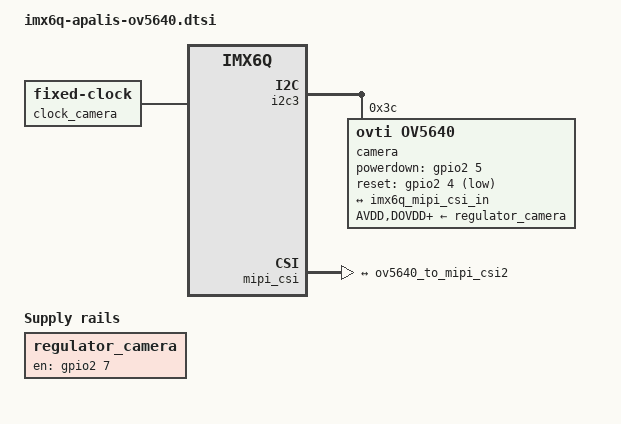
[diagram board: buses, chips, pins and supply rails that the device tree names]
// SPDX-License-Identifier: GPL-2.0-only OR MIT
/*
 * Copyright (c) Toradex
 *
 * Common device tree include for Toradex OV5640 CSI camera on Apalis iMX6 CSI.
 */

#include <dt-bindings/gpio/gpio.h>

&{/} {
	clock_camera: clock-camera {
		compatible = "fixed-clock";
		#clock-cells = <0>;
	};

	regulator_camera: regulator-camera {
		compatible = "regulator-fixed";
		/* Apalis GPIO4 - CSI Camera Connector pin 24 */
		gpio = <&gpio2 7 GPIO_ACTIVE_HIGH>;
		enable-active-high;
		regulator-name = "V_CSI";
		startup-delay-us = <5000>;
	};
};

&i2c3 {
	#address-cells = <1>;
	#size-cells = <0>;

	camera@3c {
		compatible = "ovti,ov5640";
		reg = <0x3c>;
		clocks = <&clock_camera>;
		clock-names = "xclk";
		AVDD-supply = <&regulator_camera>;
		DOVDD-supply = <&regulator_camera>;
		DVDD-supply = <&regulator_camera>;
		/* Apalis GPIO2 - CSI Camera Connector pin 22 */
		powerdown-gpios = <&gpio2 5 GPIO_ACTIVE_HIGH>;
		/* Apalis GPIO1 - CSI Camera Connector pin 11 */
		reset-gpios = <&gpio2 4 GPIO_ACTIVE_LOW>;

		port {
			ov5640_to_mipi_csi2: endpoint {
				clock-lanes = <0>;
				data-lanes = <1 2>;
				remote-endpoint = <&imx6q_mipi_csi_in>;
			};
		};
	};
};

&mipi_csi {
	#address-cells = <1>;
	#size-cells = <0>;

	status = "okay";

	port@0 {
		reg = <0>;

		imx6q_mipi_csi_in: endpoint {
			clock-lanes = <0>;
			data-lanes = <1 2>;
			remote-endpoint = <&ov5640_to_mipi_csi2>;
		};
	};
};
